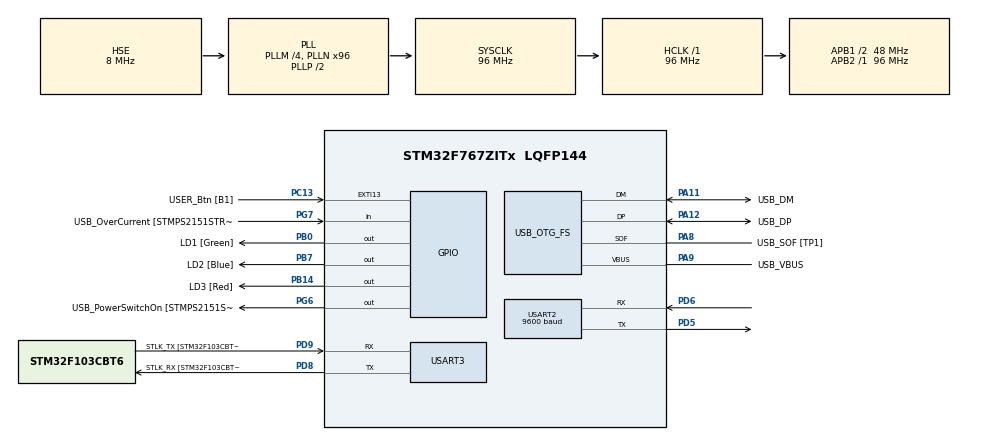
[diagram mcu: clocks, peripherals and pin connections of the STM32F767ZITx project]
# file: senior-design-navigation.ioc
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Dma.Request0=USART2_RX
Dma.USART2_RX.0.Direction=DMA_PERIPH_TO_MEMORY
Dma.USART2_RX.0.FIFOMode=DMA_FIFOMODE_DISABLE
Dma.USART2_RX.0.Instance=DMA1_Stream5
Dma.USART2_RX.0.MemDataAlignment=DMA_MDATAALIGN_BYTE
Dma.USART2_RX.0.MemInc=DMA_MINC_ENABLE
Dma.USART2_RX.0.Mode=DMA_CIRCULAR
Dma.USART2_RX.0.PeriphDataAlignment=DMA_PDATAALIGN_BYTE
Dma.USART2_RX.0.PeriphInc=DMA_PINC_DISABLE
Dma.USART2_RX.0.Priority=DMA_PRIORITY_LOW
Mcu.Family=STM32F7
Mcu.Name=STM32F767ZITx
Mcu.Package=LQFP144
NVIC.DMA1_Stream5_IRQn=true\:0\:0\:false\:false\:true\:false\:true\:true
NVIC.PriorityGroup=NVIC_PRIORITYGROUP_4
PA1.GPIO_Label=RMII_REF_CLK [LAN8742A-CZ-TR_REFCLK0]
PA1.Signal=ETH_REF_CLK
PA10.GPIO_Label=USB_ID
PA10.Signal=USB_OTG_FS_ID
PA11.GPIO_Label=USB_DM
PA11.Mode=Device_Only
PA11.Signal=USB_OTG_FS_DM
PA12.GPIO_Label=USB_DP
PA12.Mode=Device_Only
PA12.Signal=USB_OTG_FS_DP
PA13.GPIO_Label=TMS
PA13.Mode=Serial_Wire
PA13.Signal=SYS_JTMS-SWDIO
PA14.GPIO_Label=TCK
PA14.Mode=Serial_Wire
PA14.Signal=SYS_JTCK-SWCLK
PA2.GPIO_Label=RMII_MDIO [LAN8742A-CZ-TR_MDIO]
PA2.Signal=ETH_MDIO
PA7.GPIO_Label=RMII_CRS_DV [LAN8742A-CZ-TR_CRS_DV]
PA7.Signal=ETH_CRS_DV
PA8.GPIO_Label=USB_SOF [TP1]
PA8.Mode=Activate_SOF_FS
PA8.Signal=USB_OTG_FS_SOF
PA9.GPIO_Label=USB_VBUS
PA9.Mode=Activate_VBUS
PA9.Signal=USB_OTG_FS_VBUS
PB0.GPIO_Label=LD1 [Green]
PB0.Signal=GPIO_Output
PB13.GPIO_Label=RMII_TXD1 [LAN8742A-CZ-TR_TXD1]
PB13.Signal=ETH_TXD1
PB14.GPIO_Label=LD3 [Red]
PB14.Signal=GPIO_Output
PB3.GPIO_Label=SWO
PB3.Signal=SYS_JTDO-SWO
PB7.GPIO_Label=LD2 [Blue]
PB7.Signal=GPIO_Output
PC1.GPIO_Label=RMII_MDC [LAN8742A-CZ-TR_MDC]
PC1.Signal=ETH_MDC
PC13.GPIO_Label=USER_Btn [B1]
PC13.Signal=GPXTI13
PC14/OSC32_IN.Mode=LSE-External-Oscillator
PC14/OSC32_IN.Signal=RCC_OSC32_IN
PC15/OSC32_OUT.Mode=LSE-External-Oscillator
PC15/OSC32_OUT.Signal=RCC_OSC32_OUT
PC4.GPIO_Label=RMII_RXD0 [LAN8742A-CZ-TR_RXD0]
PC4.Signal=ETH_RXD0
PC5.GPIO_Label=RMII_RXD1 [LAN8742A-CZ-TR_RXD1]
PC5.Signal=ETH_RXD1
PD5.Mode=Asynchronous
PD5.Signal=USART2_TX
PD6.Mode=Asynchronous
PD6.Signal=USART2_RX
PD8.GPIO_Label=STLK_RX [STM32F103CBT6_PA3]
PD8.Mode=Asynchronous
PD8.Signal=USART3_TX
PD9.GPIO_Label=STLK_TX [STM32F103CBT6_PA2]
PD9.Mode=Asynchronous
PD9.Signal=USART3_RX
PG11.GPIO_Label=RMII_TX_EN [LAN8742A-CZ-TR_TXEN]
PG11.Signal=ETH_TX_EN
PG13.GPIO_Label=RMII_TXD0 [LAN8742A-CZ-TR_TXD0]
PG13.Signal=ETH_TXD0
PG6.GPIO_Label=USB_PowerSwitchOn [STMPS2151STR_EN]
PG6.Signal=GPIO_Output
PG7.GPIO_Label=USB_OverCurrent [STMPS2151STR_FAULT]
PG7.Signal=GPIO_Input
PH0/OSC_IN.GPIO_Label=MCO [STM32F103CBT6_PA8]
PH0/OSC_IN.Mode=HSE-External-Clock-Source
PH0/OSC_IN.Signal=RCC_OSC_IN
PH1/OSC_OUT.Mode=HSE-External-Clock-Source
PH1/OSC_OUT.Signal=RCC_OSC_OUT
ProjectManager.HeapSize=0x200
ProjectManager.StackSize=0x400
ProjectManager.TargetToolchain=STM32CubeIDE
RCC.48MHZClocksFreq_Value=24000000
RCC.AHBFreq_Value=96000000
RCC.APB1CLKDivider=RCC_HCLK_DIV2
RCC.APB1Freq_Value=48000000
RCC.APB1TimFreq_Value=96000000
RCC.APB2Freq_Value=96000000
RCC.APB2TimFreq_Value=96000000
RCC.CortexFreq_Value=96000000
RCC.HCLKFreq_Value=96000000
RCC.HSE_VALUE=8000000
RCC.HSI_VALUE=16000000
RCC.PLLM=4
RCC.PLLMUL=RCC_PLL_MUL9
RCC.PLLN=96
RCC.PLLQ=4
RCC.PRESCALERUSB=RCC_USBCLKSOURCE_PLL_DIV1_5
RCC.SYSCLKFreq_VALUE=96000000
RCC.SYSCLKSource=RCC_SYSCLKSOURCE_PLLCLK
RCC.SYSCLKSourceVirtual=RCC_SYSCLKSOURCE_PLLCLK
RCC.USBFreq_Value=48000000
RCC.VCOOutputFreq_Value=192000000
USART2.BaudRate=9600
USART2.VirtualMode-Asynchronous=VM_ASYNC
USART3.VirtualMode-Asynchronous=VM_ASYNC
USB_OTG_FS.VirtualMode=Device_Only
board=NUCLEO-F767ZI

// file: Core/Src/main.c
/* USER CODE BEGIN Header */
/**
  ******************************************************************************
  * @file           : main.c
  * @brief          : Main program body
  ******************************************************************************
  * @attention
  *
  * Copyright (c) 2023 STMicroelectronics.
  * All rights reserved.
  *
  * This software is licensed under terms that can be found in the LICENSE file
  * in the root directory of this software component.
  * If no LICENSE file comes with this software, it is provided AS-IS.
  *
  ******************************************************************************
  */
/* USER CODE END Header */
#include "main.h"

/* USER CODE BEGIN Includes */
#include "stdio.h"
#include "string.h"
#include "dijkstra.h"
#include "landmarks.h"
#include "lwgps/lwgps.h"
#include "k_d_tree.h"
#include "proximity.h"
#include "navigation.h"
#include "helper_functions.h"
#include "navigation_tests.h"
/* USER CODE END Includes */

UART_HandleTypeDef huart2;
UART_HandleTypeDef huart3;
DMA_HandleTypeDef hdma_usart2_rx;

PCD_HandleTypeDef hpcd_USB_OTG_FS;

void SystemClock_Config(void);
static void MX_GPIO_Init(void);
static void MX_DMA_Init(void);
static void MX_USART3_UART_Init(void);
static void MX_USB_OTG_FS_PCD_Init(void);
static void MX_USART2_UART_Init(void);

int main(void)
{

  /* MCU Configuration--------------------------------------------------------*/

  /* Reset of all peripherals, Initializes the Flash interface and the Systick. */
  HAL_Init();

  /* Configure the system clock */
  SystemClock_Config();

  /* Initialize all configured peripherals */
  MX_GPIO_Init();
  MX_DMA_Init();
  MX_USART3_UART_Init();
  MX_USB_OTG_FS_PCD_Init();
  MX_USART2_UART_Init();
  /* USER CODE BEGIN 2 */
  lwgps_init(&gps);
  //test_runs();
  HAL_UART_Receive_DMA(&huart2, nav_rx_data, UART2_RX_DMA_BUFFER_SIZE);
  /* USER CODE END 2 */

  /* Infinite loop */
  /* USER CODE BEGIN WHILE */
  printf("\n\r");

  int destination = 34;
  int fix_status;
  printf("Waiting for GPS Fix...\n\r");
  do {
	  fix_status = navigation_main_init(destination);
  } while(fix_status == 0); // should check for number of satellites? 6 seems reasonable
  printf("Now entering main loop\n\r");
  while (1) {
	navigation_main_loop();
	continue;
	printf("Latitude: ");
	print_float(coord.y);
	printf(" ");
	printf("Longitude: ");
	print_float(coord.x);
	printf("\n\r");
    /* USER CODE END WHILE */

  }
}

void SystemClock_Config(void)
{
  RCC_OscInitTypeDef RCC_OscInitStruct = {0};
  RCC_ClkInitTypeDef RCC_ClkInitStruct = {0};

  /** Configure LSE Drive Capability
  */
  HAL_PWR_EnableBkUpAccess();

  /** Configure the main internal regulator output voltage
  */
  __HAL_RCC_PWR_CLK_ENABLE();
  __HAL_PWR_VOLTAGESCALING_CONFIG(PWR_REGULATOR_VOLTAGE_SCALE3);

  /** Initializes the RCC Oscillators according to the specified parameters
  * in the RCC_OscInitTypeDef structure.
  */
  RCC_OscInitStruct.OscillatorType = RCC_OSCILLATORTYPE_HSE;
  RCC_OscInitStruct.HSEState = RCC_HSE_BYPASS;
  RCC_OscInitStruct.PLL.PLLState = RCC_PLL_ON;
  RCC_OscInitStruct.PLL.PLLSource = RCC_PLLSOURCE_HSE;
  RCC_OscInitStruct.PLL.PLLM = 4;
  RCC_OscInitStruct.PLL.PLLN = 96;
  RCC_OscInitStruct.PLL.PLLP = RCC_PLLP_DIV2;
  RCC_OscInitStruct.PLL.PLLQ = 4;
  RCC_OscInitStruct.PLL.PLLR = 2;
  if (HAL_RCC_OscConfig(&RCC_OscInitStruct) != HAL_OK)
  {
    Error_Handler();
  }

  /** Activate the Over-Drive mode
  */
  if (HAL_PWREx_EnableOverDrive() != HAL_OK)
  {
    Error_Handler();
  }

  /** Initializes the CPU, AHB and APB buses clocks
  */
  RCC_ClkInitStruct.ClockType = RCC_CLOCKTYPE_HCLK|RCC_CLOCKTYPE_SYSCLK
                              |RCC_CLOCKTYPE_PCLK1|RCC_CLOCKTYPE_PCLK2;
  RCC_ClkInitStruct.SYSCLKSource = RCC_SYSCLKSOURCE_PLLCLK;
  RCC_ClkInitStruct.AHBCLKDivider = RCC_SYSCLK_DIV1;
  RCC_ClkInitStruct.APB1CLKDivider = RCC_HCLK_DIV2;
  RCC_ClkInitStruct.APB2CLKDivider = RCC_HCLK_DIV1;

  if (HAL_RCC_ClockConfig(&RCC_ClkInitStruct, FLASH_LATENCY_3) != HAL_OK)
  {
    Error_Handler();
  }
}

static void MX_USART2_UART_Init(void)
{

  huart2.Instance = USART2;
  huart2.Init.BaudRate = 9600;
  huart2.Init.WordLength = UART_WORDLENGTH_8B;
  huart2.Init.StopBits = UART_STOPBITS_1;
  huart2.Init.Parity = UART_PARITY_NONE;
  huart2.Init.Mode = UART_MODE_TX_RX;
  huart2.Init.HwFlowCtl = UART_HWCONTROL_NONE;
  huart2.Init.OverSampling = UART_OVERSAMPLING_16;
  huart2.Init.OneBitSampling = UART_ONE_BIT_SAMPLE_DISABLE;
  huart2.AdvancedInit.AdvFeatureInit = UART_ADVFEATURE_NO_INIT;
  if (HAL_UART_Init(&huart2) != HAL_OK)
  {
    Error_Handler();
  }

}

static void MX_USART3_UART_Init(void)
{

  huart3.Instance = USART3;
  huart3.Init.BaudRate = 115200;
  huart3.Init.WordLength = UART_WORDLENGTH_8B;
  huart3.Init.StopBits = UART_STOPBITS_1;
  huart3.Init.Parity = UART_PARITY_NONE;
  huart3.Init.Mode = UART_MODE_TX_RX;
  huart3.Init.HwFlowCtl = UART_HWCONTROL_NONE;
  huart3.Init.OverSampling = UART_OVERSAMPLING_16;
  huart3.Init.OneBitSampling = UART_ONE_BIT_SAMPLE_DISABLE;
  huart3.AdvancedInit.AdvFeatureInit = UART_ADVFEATURE_NO_INIT;
  if (HAL_UART_Init(&huart3) != HAL_OK)
  {
    Error_Handler();
  }

}

static void MX_USB_OTG_FS_PCD_Init(void)
{

  hpcd_USB_OTG_FS.Instance = USB_OTG_FS;
  hpcd_USB_OTG_FS.Init.dev_endpoints = 6;
  hpcd_USB_OTG_FS.Init.speed = PCD_SPEED_FULL;
  hpcd_USB_OTG_FS.Init.dma_enable = DISABLE;
  hpcd_USB_OTG_FS.Init.phy_itface = PCD_PHY_EMBEDDED;
  hpcd_USB_OTG_FS.Init.Sof_enable = ENABLE;
  hpcd_USB_OTG_FS.Init.low_power_enable = DISABLE;
  hpcd_USB_OTG_FS.Init.lpm_enable = DISABLE;
  hpcd_USB_OTG_FS.Init.vbus_sensing_enable = ENABLE;
  hpcd_USB_OTG_FS.Init.use_dedicated_ep1 = DISABLE;
  if (HAL_PCD_Init(&hpcd_USB_OTG_FS) != HAL_OK)
  {
    Error_Handler();
  }

}

static void MX_DMA_Init(void)
{

  /* DMA controller clock enable */
  __HAL_RCC_DMA1_CLK_ENABLE();

  /* DMA interrupt init */
  /* DMA1_Stream5_IRQn interrupt configuration */
  HAL_NVIC_SetPriority(DMA1_Stream5_IRQn, 0, 0);
  HAL_NVIC_EnableIRQ(DMA1_Stream5_IRQn);

}

static void MX_GPIO_Init(void)
{
  GPIO_InitTypeDef GPIO_InitStruct = {0};

  /* GPIO Ports Clock Enable */
  __HAL_RCC_GPIOC_CLK_ENABLE();
  __HAL_RCC_GPIOH_CLK_ENABLE();
  __HAL_RCC_GPIOA_CLK_ENABLE();
  __HAL_RCC_GPIOB_CLK_ENABLE();
  __HAL_RCC_GPIOD_CLK_ENABLE();
  __HAL_RCC_GPIOG_CLK_ENABLE();

  /*Configure GPIO pin Output Level */
  HAL_GPIO_WritePin(GPIOB, LD1_Pin|LD3_Pin|LD2_Pin, GPIO_PIN_RESET);

  /*Configure GPIO pin Output Level */
  HAL_GPIO_WritePin(USB_PowerSwitchOn_GPIO_Port, USB_PowerSwitchOn_Pin, GPIO_PIN_RESET);

  /*Configure GPIO pin : USER_Btn_Pin */
  GPIO_InitStruct.Pin = USER_Btn_Pin;
  GPIO_InitStruct.Mode = GPIO_MODE_IT_RISING;
  GPIO_InitStruct.Pull = GPIO_NOPULL;
  HAL_GPIO_Init(USER_Btn_GPIO_Port, &GPIO_InitStruct);

  /*Configure GPIO pins : RMII_MDC_Pin RMII_RXD0_Pin RMII_RXD1_Pin */
  GPIO_InitStruct.Pin = RMII_MDC_Pin|RMII_RXD0_Pin|RMII_RXD1_Pin;
  GPIO_InitStruct.Mode = GPIO_MODE_AF_PP;
  GPIO_InitStruct.Pull = GPIO_NOPULL;
  GPIO_InitStruct.Speed = GPIO_SPEED_FREQ_VERY_HIGH;
  GPIO_InitStruct.Alternate = GPIO_AF11_ETH;
  HAL_GPIO_Init(GPIOC, &GPIO_InitStruct);

  /*Configure GPIO pins : RMII_REF_CLK_Pin RMII_MDIO_Pin RMII_CRS_DV_Pin */
  GPIO_InitStruct.Pin = RMII_REF_CLK_Pin|RMII_MDIO_Pin|RMII_CRS_DV_Pin;
  GPIO_InitStruct.Mode = GPIO_MODE_AF_PP;
  GPIO_InitStruct.Pull = GPIO_NOPULL;
  GPIO_InitStruct.Speed = GPIO_SPEED_FREQ_VERY_HIGH;
  GPIO_InitStruct.Alternate = GPIO_AF11_ETH;
  HAL_GPIO_Init(GPIOA, &GPIO_InitStruct);

  /*Configure GPIO pins : LD1_Pin LD3_Pin LD2_Pin */
  GPIO_InitStruct.Pin = LD1_Pin|LD3_Pin|LD2_Pin;
  GPIO_InitStruct.Mode = GPIO_MODE_OUTPUT_PP;
  GPIO_InitStruct.Pull = GPIO_NOPULL;
  GPIO_InitStruct.Speed = GPIO_SPEED_FREQ_LOW;
  HAL_GPIO_Init(GPIOB, &GPIO_InitStruct);

  /*Configure GPIO pin : RMII_TXD1_Pin */
  GPIO_InitStruct.Pin = RMII_TXD1_Pin;
  GPIO_InitStruct.Mode = GPIO_MODE_AF_PP;
  GPIO_InitStruct.Pull = GPIO_NOPULL;
  GPIO_InitStruct.Speed = GPIO_SPEED_FREQ_VERY_HIGH;
  GPIO_InitStruct.Alternate = GPIO_AF11_ETH;
  HAL_GPIO_Init(RMII_TXD1_GPIO_Port, &GPIO_InitStruct);

  /*Configure GPIO pin : USB_PowerSwitchOn_Pin */
  GPIO_InitStruct.Pin = USB_PowerSwitchOn_Pin;
  GPIO_InitStruct.Mode = GPIO_MODE_OUTPUT_PP;
  GPIO_InitStruct.Pull = GPIO_NOPULL;
  GPIO_InitStruct.Speed = GPIO_SPEED_FREQ_LOW;
  HAL_GPIO_Init(USB_PowerSwitchOn_GPIO_Port, &GPIO_InitStruct);

  /*Configure GPIO pin : USB_OverCurrent_Pin */
  GPIO_InitStruct.Pin = USB_OverCurrent_Pin;
  GPIO_InitStruct.Mode = GPIO_MODE_INPUT;
  GPIO_InitStruct.Pull = GPIO_NOPULL;
  HAL_GPIO_Init(USB_OverCurrent_GPIO_Port, &GPIO_InitStruct);

  /*Configure GPIO pins : RMII_TX_EN_Pin RMII_TXD0_Pin */
  GPIO_InitStruct.Pin = RMII_TX_EN_Pin|RMII_TXD0_Pin;
  GPIO_InitStruct.Mode = GPIO_MODE_AF_PP;
  GPIO_InitStruct.Pull = GPIO_NOPULL;
  GPIO_InitStruct.Speed = GPIO_SPEED_FREQ_VERY_HIGH;
  GPIO_InitStruct.Alternate = GPIO_AF11_ETH;
  HAL_GPIO_Init(GPIOG, &GPIO_InitStruct);

}

void Error_Handler(void)
{
  __disable_irq();
  while (1)
  {
  }
}
